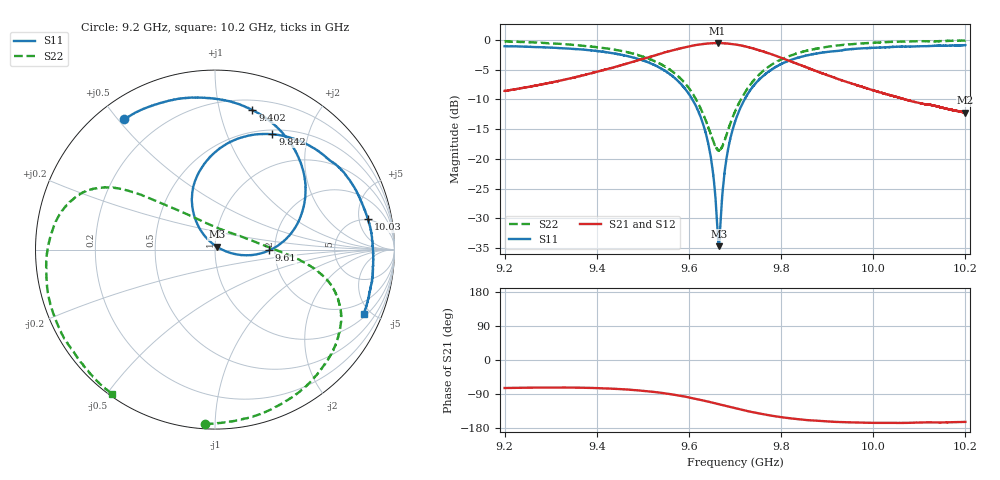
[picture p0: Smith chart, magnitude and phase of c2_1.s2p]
!Agilent Technologies,N5242A,MY51221714,A.09.90.19
!Agilent N5242A: A.09.90.19
!Date: Saturday, December 30, 2023 09:57:36
!Correction: S11(Full 2 Port(1,2))
!S21(Full 2 Port(1,2))
!S12(Full 2 Port(1,2))
!S22(Full 2 Port(1,2))
!S2P File: Measurements: S11, S21, S12, S22:
# Hz S  dB  R 50
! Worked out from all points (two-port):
!   16001 points, 9.2 GHz to 10.2 GHz, reference 50 ohm
!   highest |S21| = -0.54 dB at 9.662 GHz (marker M1); lowest = -12.2 dB at 10.2 GHz (marker M2)
!   |S21| within 3 dB of the highest: 9.485 GHz to 9.818 GHz (333.1 MHz wide, 3.45 % of centre); 9.818251 GHz to 9.818481 GHz (230 kHz wide, 0.00234 % of centre)
!   lowest |S11| = -34.7 dB at 9.665 GHz (marker M3), VSWR 1.04, Z = 51 + j1.6 ohm
!   |S11| at or under -10 dB: 9.607 GHz to 9.721 GHz (113.6 MHz wide, 1.18 % of centre)
!   |S22| runs from -18.6 to -0.1 dB; largest |S21 - S12| = 0.011
!   S11 on the Smith chart (normalised r, x): 9.2 GHz: 0.08, +0.52; 9.402 GHz: 0.29, +1.26; 9.61 GHz: 1.86, -0.02; 9.842 GHz: 0.55, +1.47; 10.03 GHz: 4.82, +6.67; 10.2 GHz: 1.18, -4.55
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9.2e9  -1.07 124.9  -8.58 -73.9  -8.57 -74.5  -0.24 -93.2
9.277875e9  -1.24 106.9  -7.54 -72.7  -7.52 -73.3  -0.49 -72.2
9.366688e9  -1.61 84.7  -6.02 -73.2  -6.02 -73.8  -0.97 -49.5
9.401812e9  -1.90 74.9  -5.34 -74.2  -5.33 -74.8  -1.25 -40.8
9.467938e9  -2.75 54.8  -3.91 -78.1  -3.92 -78.6  -2.10 -26.6
9.533375e9  -4.56 31.7  -2.45 -85.6  -2.44 -86.1  -3.86 -14.9
9.610438e9  -10.43 -0.8  -0.94 -101.2  -0.93 -101.8  -9.31 -0.5
9.644125e9  -18.22 -12.0  -0.60 -110.4  -0.60 -111.1  -15.17 22.3
9.653312e9  -22.99 -10.2  -0.56 -113.2  -0.55 -113.7  -17.10 37.4
9.662312e9  -32.11 20.7  -0.54 -115.9  -0.54 -116.4  -18.43 60.2
9.66475e9  -34.66 57.7  -0.54 -116.6  -0.54 -117.1  -18.55 67.8
9.681e9  -20.16 126.9  -0.60 -121.5  -0.60 -122.0  -16.10 109.1
9.7e9  -13.81 122.6  -0.77 -127.2  -0.75 -127.7  -12.07 128.0
9.752312e9  -6.71 99.2  -1.75 -141.1  -1.73 -141.7  -5.85 143.4
9.841875e9  -2.88 63.6  -4.22 -156.8  -4.22 -157.4  -2.11 155.2
9.866688e9  -2.43 55.2  -4.95 -159.6  -4.96 -160.2  -1.64 159.1
9.952e9  -1.56 31.0  -7.30 -164.6  -7.30 -165.2  -0.74 175.3
1.003269e10  -1.23 11.3  -9.22 -165.9  -9.20 -166.5  -0.36 -166.9
1.003338e10  -1.22 11.1  -9.23 -166.0  -9.22 -166.5  -0.36 -166.7
1.010662e10  -1.08 -4.4  -10.72 -164.8  -10.72 -165.4  -0.22 -149.3
1.019994e10  -0.88 -23.3  -12.23 -163.4  -12.21 -164.1  -0.11 -125.7
1.02e10  -0.89 -23.3  -12.22 -163.4  -12.22 -164.0  -0.11 -125.6
